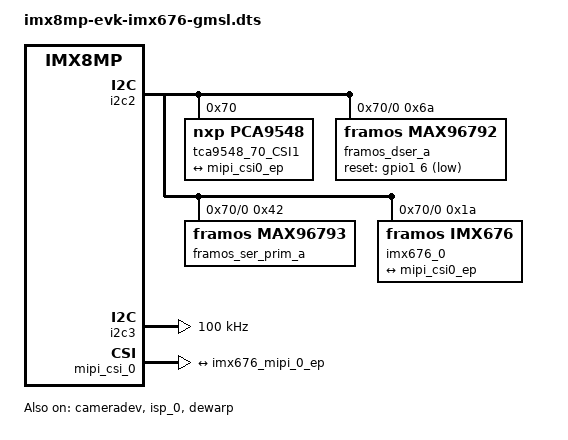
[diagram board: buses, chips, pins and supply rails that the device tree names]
// SPDX-License-Identifier: (GPL-2.0+ OR MIT)
/*
 * Copyright 2020 NXP
 *
 * This program is free software; you can redistribute it and/or
 * modify it under the terms of the GNU General Public License
 * as published by the Free Software Foundation; either version 2
 * of the License, or (at your option) any later version.
 *
 * This program is distributed in the hope that it will be useful,
 * but WITHOUT ANY WARRANTY; without even the implied warranty of
 * MERCHANTABILITY or FITNESS FOR A PARTICULAR PURPOSE.  See the
 * GNU General Public License for more details.
 */

/dts-v1/;

#include "imx8mp-evk.dts"

#define CAMERA_I2C_MUX_BUS(x) (0x1E + x)

&i2c2 {
	/delete-node/ov5640_mipi@3c;

	tca9548_70_CSI1: tca9548@70 {
		compatible = "nxp,pca9548";
		reg = <0x70>;
		#address-cells = <1>;
		#size-cells = <0>;
		skip_mux_detect;
		force_bus_start = <CAMERA_I2C_MUX_BUS(0)>;

		i2c@0 {
			reg = <0>;
			i2c-mux,deselect-on-exit;
			#address-cells = <1>;
			#size-cells = <0>;
			status = "okay";

			framos_dser_a: max96792_a@6a {
				compatible = "framos,max96792";
				reg = <0x6a>;
				csi-mode = "2x4";
				max-src = <1>;
				reset-gpios = <&gpio1 6 GPIO_ACTIVE_LOW>;
			};
			framos_ser_prim_a: max96793_prim_a@42 { /* i2c serializer physical address */
				compatible = "framos,max96793";
				reg = <0x42>;
				gmsl-dser-device = <&framos_dser_a>;
				is-prim-ser;
			};

			imx676_0: imx676_mipi@1a {
				compatible = "framos,imx676";
				reg = <0x1a>;
				def-addr = <0x1a>;
				gmsl = "gmsl";
				pinctrl-names = "default";
				pinctrl-0 = <&pinctrl_csi0_pwn>, <&pinctrl_csi0_rst>, <&pinctrl_csi_mclk>;
				clocks = <&clk IMX8MP_CLK_IPP_DO_CLKO2>;
				clock-names = "csi_mclk";
				gmsl-ser-device = <&framos_ser_prim_a>;
				gmsl-dser-device = <&framos_dser_a>;
				csi_id = <0>;
				mipi_csi;
				status = "okay";

				port {
					imx676_mipi_0_ep: endpoint {
						remote-endpoint = <&mipi_csi0_ep>;
						data-lanes = <1 2 3 4>;
						clock-lanes = <0>;
						max-pixel-frequency = /bits/ 64 <500000000>;
					};
				};
				gmsl-link {
					src-csi-port = "b";
					dst-csi-port = "a";
					serdes-csi-link = "a";
					csi-mode = "1x4";
					st-vc = <0>;
					vc-id = <0>;
					num-lanes = <4>;
					streams = "raw12";
				};
			};
		};
	};
};

&i2c3 {
	clock-frequency = <100000>;
	pinctrl-names = "default";
	pinctrl-0 = <&pinctrl_i2c3>;
	status = "okay";

	ov5640_1: ov5640_mipi@3c {
		status = "disabled";
	};
};

&cameradev {
	status = "okay";
};

&isi_0 {
	status = "disabled";
};

&isi_1 {
	status = "disabled";
};

&isp_0 {
	status = "okay";
};

&dewarp {
	status = "okay";
};

&mipi_csi_0 {
	status = "okay";

	port {
		mipi_csi0_ep: endpoint {
			remote-endpoint = <&imx676_mipi_0_ep>;
			data-lanes = <4>;
			csis-hs-settle = <13>;
			csis-clk-settle = <2>;
			csis-wclk;
		};
	};
};

&mipi_csi_1 {
	status = "disabled";
};
